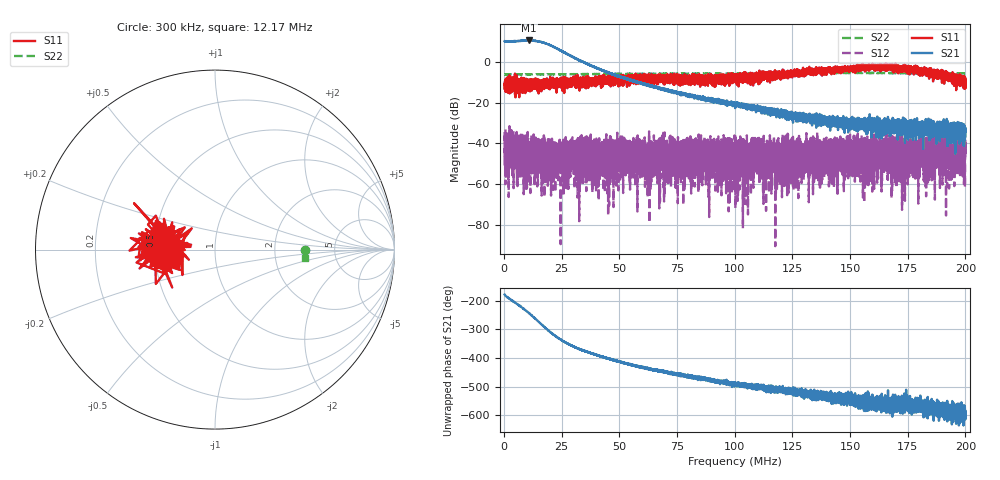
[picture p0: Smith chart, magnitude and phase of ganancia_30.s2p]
# Hz S DB R 50
! CMT, M5065, 19127446, 24.2.4/2
! Date: 10/29/2024 1:18:51 PM
! Data: Format (Calibration Info)
! Freq	S11:dB/Ang(F2)	S21:dB/Ang(F2)	S12:dB/Ang(F2)	S22:dB/Ang(F2)
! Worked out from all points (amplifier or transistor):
!   9000 points, 300 kHz to 200 MHz, reference 50 ohm
!   highest |S21| = 10.6 dB at 10.93 MHz (marker M1)
!   |S21| within 3 dB of that: start of sweep to 21.18 MHz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
!   unconditionally stable (mu >= 1): start of sweep to end of sweep
!   at 33.59 MHz: K = 86.19, MAG = 2.2 dB, |S12| = -48.8 dB
!   at 100.2 MHz: K = 2310.34, MAG = -18.5 dB, |S12| = -57.0 dB
!   at 200 MHz: K = 1843.51, MAG = -32.5 dB, |S12| = -40.5 dB
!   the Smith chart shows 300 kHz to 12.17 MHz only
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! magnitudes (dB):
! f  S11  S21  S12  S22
! 300 kHz  -13.1  10.2  -46.6  -6.0
! 3.163 MHz  -9.9  10.3  -36.0  -6.0
! 10.93 MHz  -10.0  10.6  -42.1  -6.0
! 33.59 MHz  -9.2  0.3  -48.8  -5.9
! 36.96 MHz  -9.1  -1.3  -40.3  -5.9
! 41.42 MHz  -9.5  -3.5  -43.5  -5.9
! 52.41 MHz  -7.7  -8.0  -42.6  -5.8
! 58.4 MHz  -9.6  -10.0  -39.6  -5.8
! 62.08 MHz  -8.9  -11.1  -49.5  -5.8
! 66.87 MHz  -9.5  -12.8  -46.4  -5.8
! 100.2 MHz  -7.2  -20.8  -57.0  -5.7
! 102.5 MHz  -7.0  -21.3  -42.8  -5.7
! 120.6 MHz  -6.3  -24.9  -48.5  -5.5
! 123.1 MHz  -4.2  -26.8  -39.4  -5.5
! 126.1 MHz  -5.8  -25.0  -47.8  -5.5
! 133.4 MHz  -4.0  -28.2  -49.1  -5.4
! 151.8 MHz  -3.7  -33.0  -50.1  -5.3
! 166.7 MHz  -2.3  -29.4  -42.9  -5.4
! 183.5 MHz  -4.9  -32.5  -42.5  -5.5
! 188.7 MHz  -5.5  -32.8  -42.4  -5.5
! 198 MHz  -7.6  -32.3  -48.1  -5.5
! 200 MHz  -11.7  -34.3  -40.5  -5.6
